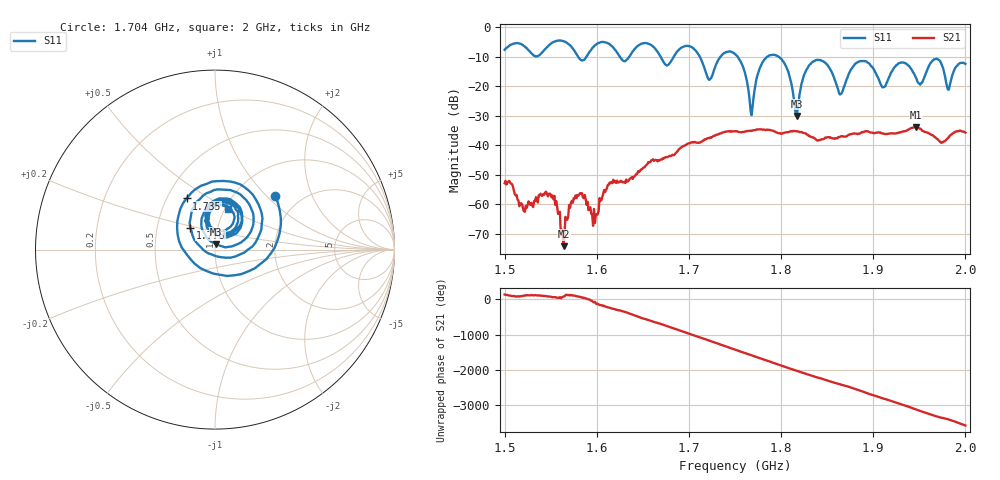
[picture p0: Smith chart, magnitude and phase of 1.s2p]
! NanoVNA-App by SYSJOINT et al v1.1.209 (+OD18)
! Date: 2026-01-21 14:46:18
! Start: 1,5GHz Stop: 2GHz Points: 501
! S-Parameter data: F S11 S21 S12 S22
# Hz S RI R 50
!  Frequency  S11_Real  S11_Imag  S21_Real  S21_Imag  S12_Real  S12_Imag  S22_Real  S22_Imag
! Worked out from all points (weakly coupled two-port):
!   501 points, 1.5 GHz to 2 GHz, reference 50 ohm
!   highest |S21| = -33.82 dB at 1.946 GHz (marker M1); lowest = -74.1 dB at 1.564 GHz (marker M2)
!   lowest |S11| = -30.1 dB at 1.817 GHz (marker M3), VSWR 1.06, Z = 50.5 + j3.11 ohm
!   |S11| at or under -10 dB: 1.712 GHz to 1.734 GHz (22.31 MHz wide, 1.29 % of centre); 1.753 GHz to 1.785 GHz (31.88 MHz wide, 1.8 % of centre); 1.797 GHz to end of sweep (the widest 3 of 6)
!   S12 and S22 are empty: the file has one direction only
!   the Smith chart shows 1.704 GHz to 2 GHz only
!   S11 on the Smith chart (normalised r, x): 1.704 GHz: 1.51, +1.13; 1.735 GHz: 0.63, +0.40; 1.776 GHz: 0.74, +0.19; 2 GHz: 1.03, +0.50
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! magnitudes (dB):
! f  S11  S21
! 1.5 GHz  -7.6  -52.8
! 1.522 GHz  -6.6  -62.5
! 1.55 GHz  -5.6  -56.6
! 1.564 GHz  -4.7  -74.1
! 1.584 GHz  -11.2  -56.2
! 1.598 GHz  -6.1  -66.3
! 1.614 GHz  -5.8  -52.6
! 1.667 GHz  -8.8  -45.0
! 1.704 GHz  -6.9  -38.9
! 1.722 GHz  -17.8  -37.6
! 1.735 GHz  -9.7  -35.9
! 1.75 GHz  -9.1  -35.2
! 1.768 GHz  -29.8  -35.1
! 1.776 GHz  -14.7  -34.6
! 1.8 GHz  -10.7  -36.1
! 1.817 GHz  -30.1  -35.2
! 1.834 GHz  -11.8  -37.2
! 1.864 GHz  -22.8  -37.1
! 1.885 GHz  -11.6  -36.1
! 1.917 GHz  -17.0  -36.0
! 1.946 GHz  -16.9  -33.8
! 2 GHz  -12.4  -35.7
